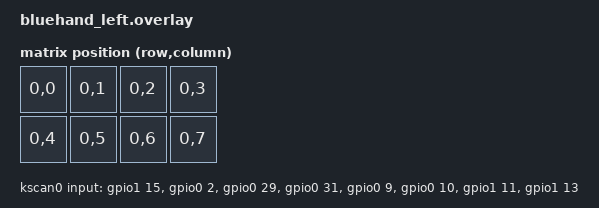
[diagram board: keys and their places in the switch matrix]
#include <dt-bindings/zmk/matrix_transform.h>

/ {
    chosen {
        zmk,kscan = &kscan0;
        zmk,matrix_transform = &default_transform;
    };

    default_transform: matrix_transform {
        compatible = "zmk,matrix-transform";
        columns = <4>;
        rows = <2>;
        map = <
            RC(0,0) RC(0,1) RC(0,2) RC(0,3)
            RC(0,4) RC(0,5) RC(0,6) RC(0,7)
        >;
    };

    kscan0: kscan_0 {
        compatible = "zmk,kscan-gpio-direct";
        label = "KSCAN";
        wakeup-source;

        input-gpios
            = <&gpio1 15 (GPIO_ACTIVE_LOW | GPIO_PULL_UP)> // Key 0 (115)
            , <&gpio0 2  (GPIO_ACTIVE_LOW | GPIO_PULL_UP)> // Key 1 (002)
            , <&gpio0 29 (GPIO_ACTIVE_LOW | GPIO_PULL_UP)> // Key 2 (029)
            , <&gpio0 31 (GPIO_ACTIVE_LOW | GPIO_PULL_UP)> // Key 3 (031)
            , <&gpio0 9  (GPIO_ACTIVE_LOW | GPIO_PULL_UP)> // Key 4 (009)
            , <&gpio0 10 (GPIO_ACTIVE_LOW | GPIO_PULL_UP)> // Key 5 (010)
            , <&gpio1 11 (GPIO_ACTIVE_LOW | GPIO_PULL_UP)> // Key 6 (111)
            , <&gpio1 13 (GPIO_ACTIVE_LOW | GPIO_PULL_UP)> // Key 7 (113)
            ;
    };

    leds {
        compatible = "gpio-leds";
        actled: led_a {
            gpios = <&gpio1 10 GPIO_ACTIVE_HIGH>;
            label = "ACT LED";
        };
        powerled: led_p {
            gpios = <&gpio1 4 GPIO_ACTIVE_HIGH>;
            label = "PWR LED";
        };
    };
};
